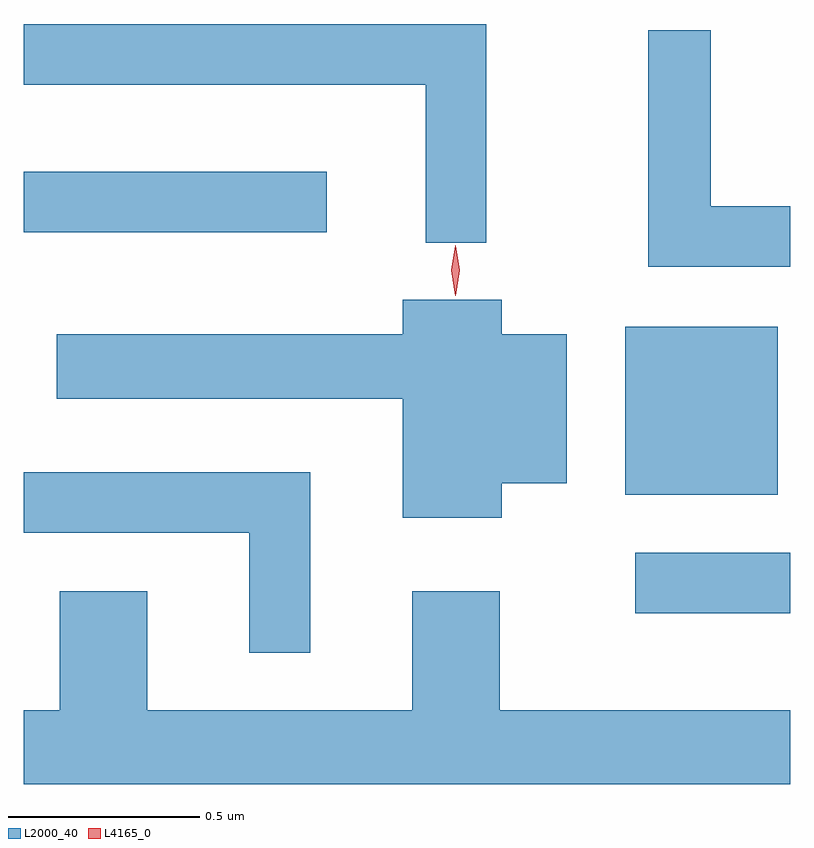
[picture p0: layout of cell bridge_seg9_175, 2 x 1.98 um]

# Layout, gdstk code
import gdstk
lib = gdstk.Library(unit=1e-6, precision=1e-09)
def R(c, l, rs):  # rectangles x0, y0, x1, y1
    for r in rs: c.add(gdstk.rectangle(r[:2], r[2:], *l))
def P(c, l, *ps):  # polygons
    for p in ps: c.add(gdstk.Polygon(p, *l))
L2000_40 = (2000, 40)
L4165_0 = (4165, 0)

bridge_seg9_175 = lib.new_cell('bridge_seg9_175')
R(bridge_seg9_175, L2000_40, [(1397.093,2054.496,1397.497,2054.654), (1397.066,2054.806,1397.464,2055.244), (1395.497,2055.491,1396.288,2055.649)])
P(bridge_seg9_175, L2000_40, [(1396.704,2056.034),(1395.497,2056.034),(1395.497,2055.876),(1396.546,2055.876),(1396.546,2055.463),(1396.704,2055.463)],
  [(1397.497,2055.559),(1397.289,2055.559),(1397.289,2056.018),(1397.126,2056.018),(1397.126,2055.401),(1397.497,2055.401)],
  [(1396.744,2054.836),(1396.914,2054.836),(1396.914,2055.224),(1396.744,2055.224),(1396.744,2055.314),(1396.486,2055.314),(1396.486,2055.224),(1395.583,2055.224),(1395.583,2055.056),(1396.486,2055.056),(1396.486,2054.746),(1396.744,2054.746)],
  [(1396.244,2054.864),(1395.497,2054.864),(1395.497,2054.706),(1396.086,2054.706),(1396.086,2054.393),(1396.244,2054.393)],
  [(1396.511,2054.554),(1396.511,2054.244),(1395.819,2054.244),(1395.819,2054.554),(1395.591,2054.554),(1395.591,2054.244),(1395.497,2054.244),(1395.497,2054.051),(1397.497,2054.051),(1397.497,2054.244),(1396.739,2054.244),(1396.739,2054.554)])
P(bridge_seg9_175, L4165_0, [(1396.623,2055.325),(1396.623,2055.325),(1396.613,2055.391),(1396.623,2055.456),(1396.623,2055.457),(1396.624,2055.456),(1396.634,2055.391),(1396.624,2055.325)])

lib.write_gds('bridge_seg9_175.gds')
